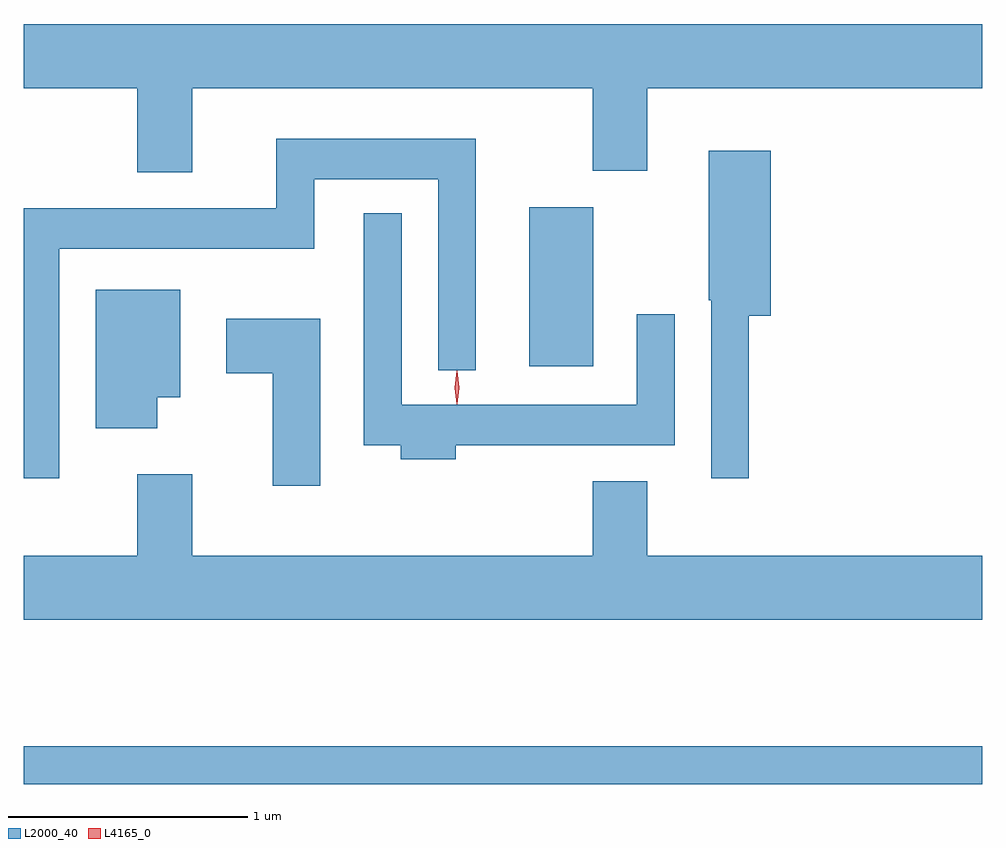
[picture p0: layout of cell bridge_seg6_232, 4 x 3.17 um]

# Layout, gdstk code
import gdstk
lib = gdstk.Library(unit=1e-6, precision=1e-09)
def R(c, l, rs):  # rectangles x0, y0, x1, y1
    for r in rs: c.add(gdstk.rectangle(r[:2], r[2:], *l))
def P(c, l, *ps):  # polygons
    for p in ps: c.add(gdstk.Polygon(p, *l))
L2000_40 = (2000, 40)
L4165_0 = (4165, 0)

bridge_seg6_232 = lib.new_cell('bridge_seg6_232')
R(bridge_seg6_232, L2000_40, [(1134.817,1551.571,1138.817,1551.729), (1136.926,1553.316,1137.194,1553.979)])
P(bridge_seg6_232, L2000_40, [(1135.519,1554.476),(1137.191,1554.476),(1137.191,1554.131),(1137.419,1554.131),(1137.419,1554.476),(1138.817,1554.476),(1138.817,1554.744),(1134.817,1554.744),(1134.817,1554.476),(1135.291,1554.476),(1135.291,1554.126),(1135.519,1554.126)],
  [(1134.964,1553.806),(1136.029,1553.806),(1136.029,1554.096),(1136.546,1554.096),(1136.546,1553.298),(1136.704,1553.298),(1136.704,1554.264),(1135.871,1554.264),(1135.871,1553.974),(1134.817,1553.974),(1134.817,1552.848),(1134.964,1552.848)],
  [(1137.844,1553.526),(1137.934,1553.526),(1137.934,1554.214),(1137.676,1554.214),(1137.676,1553.59),(1137.686,1553.59),(1137.686,1552.848),(1137.844,1552.848)],
  [(1136.619,1552.986),(1137.534,1552.986),(1137.534,1553.533),(1137.376,1553.533),(1137.376,1553.154),(1136.394,1553.154),(1136.394,1553.953),(1136.236,1553.953),(1136.236,1552.986),(1136.391,1552.986),(1136.391,1552.926),(1136.619,1552.926)],
  [(1135.374,1553.186),(1135.469,1553.186),(1135.469,1553.634),(1135.116,1553.634),(1135.116,1553.056),(1135.374,1553.056)],
  [(1136.054,1553.514),(1135.661,1553.514),(1135.661,1553.286),(1135.856,1553.286),(1135.856,1552.816),(1136.054,1552.816)],
  [(1138.817,1552.524),(1137.419,1552.524),(1137.419,1552.834),(1137.191,1552.834),(1137.191,1552.524),(1135.519,1552.524),(1135.519,1552.864),(1135.291,1552.864),(1135.291,1552.524),(1134.817,1552.524),(1134.817,1552.256),(1138.817,1552.256)])
P(bridge_seg6_232, L4165_0, [(1136.624,1553.157),(1136.615,1553.226),(1136.624,1553.296),(1136.625,1553.296),(1136.626,1553.296),(1136.635,1553.226),(1136.626,1553.157),(1136.625,1553.157)])

lib.write_gds('bridge_seg6_232.gds')
